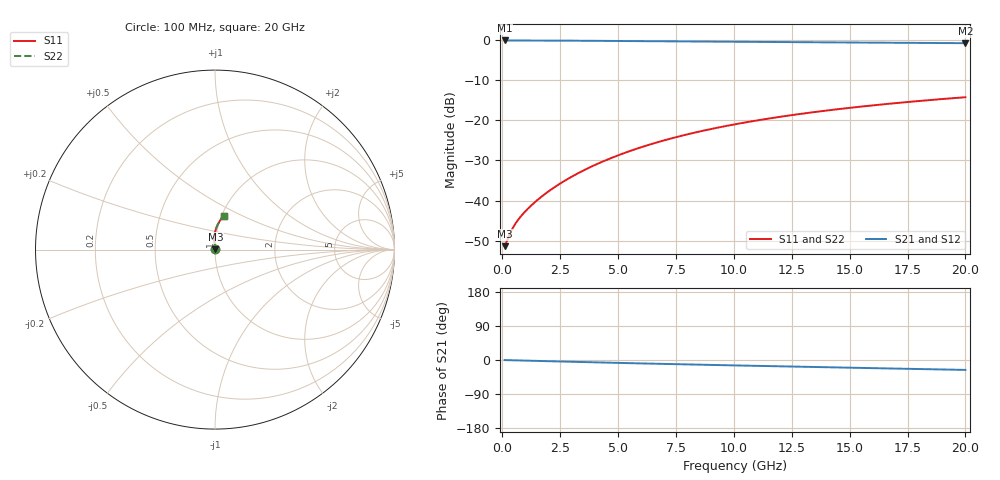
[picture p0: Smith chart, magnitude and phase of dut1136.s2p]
! Touchstone file exported from HFSS 2024.1.0
!  File:  C:/UserFiles/LocalFiles/RDL_TSV_Batchsim/temp_RDL_top_1136_1780047638.aedt
!  Generated:  05:42:31 PM May 29, 2026
!  Design:  RDL_top
!  Project:  temp_RDL_top_1136_1780047638
!  Setup:  Setup1
!  Solution:  Sweep
! Variables:
!  dtsv = 10.80580581um
!  hbump = 3um
!  htsv = 54.94um
!  ldown = 100um
!  lrdl = 406.32um
!  p = 40
!  p1 = 43um
!  rhole = 1um
!  t = 450um
!  tdown = 3.915915916um
!  trdl = 2.32um
!  wdown = 15.38538539um
!  wrdl = 28.74um
# GHz S MA R 50.000000
! Terminal data exported
! Port[1] = Box2_T1
! Port[2] = Box2_T2
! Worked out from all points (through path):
!   200 points, 100 MHz to 20 GHz, reference 50 ohm
!   highest |S21| = -0.02 dB at 100 MHz (marker M1); lowest = -0.7 dB at 20 GHz (marker M2)
!   group delay of S21, straight-line fit = 3.57 ps
!   lowest |S11| = -51.4 dB at 100 MHz (marker M3), VSWR 1.01, Z = 50.3 + j0.0851 ohm
!   |S11| at or under -10 dB: start of sweep to end of sweep
!   |S22| runs from -51.4 to -14.2 dB; largest |S21 - S12| = 3.4e-15
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0.1  0.00269 18.3  0.9974 -0.2  0.9974 -0.2  0.00269 18.3
! Gamma 0 0 0 0
! Port Impedance 50 0 50 0
0.3  0.003679 40.4  0.9971 -0.5  0.9971 -0.5  0.00368 40.4
0.4  0.004243 46.2  0.9969 -0.7  0.9969 -0.7  0.004243 46.2
0.5  0.004789 50.5  0.9967 -0.8  0.9967 -0.8  0.00479 50.5
0.6  0.005316 53.9  0.9965 -1.0  0.9965 -1.0  0.005317 53.9
0.9  0.006843 62.1  0.9959 -1.5  0.9959 -1.5  0.006844 62.1
1.2  0.008401 68.4  0.9954 -1.9  0.9954 -1.9  0.008402 68.4
1.7  0.01121 76.4  0.9944 -2.7  0.9944 -2.7  0.01121 76.4
2.2  0.0143 82.0  0.9931 -3.5  0.9931 -3.5  0.0143 82.0
2.8  0.0184 86.8  0.9913 -4.4  0.9913 -4.4  0.0184 86.8
3.5  0.02369 90.5  0.9889 -5.5  0.9889 -5.5  0.02368 90.5
4.2  0.02948 92.8  0.9862 -6.5  0.9862 -6.5  0.02947 92.8
5  0.03666 94.3  0.9828 -7.6  0.9828 -7.6  0.03664 94.2
5.9  0.04531 94.9  0.9788 -8.9  0.9788 -8.9  0.04529 94.8
6.8  0.05444 94.7  0.9747 -10.1  0.9747 -10.1  0.05441 94.7
8.4  0.07145 93.4  0.9675 -12.2  0.9675 -12.2  0.07141 93.3
10.1  0.09008 91.1  0.9601 -14.4  0.9601 -14.4  0.09004 91.0
11.7  0.1077 88.6  0.9534 -16.3  0.9534 -16.3  0.1077 88.6
13.4  0.1264 85.8  0.9467 -18.4  0.9467 -18.4  0.1263 85.8
15  0.1436 83.2  0.9406 -20.3  0.9406 -20.3  0.1435 83.2
16.7  0.1616 80.5  0.9343 -22.3  0.9343 -22.3  0.1615 80.5
20  0.195 75.5  0.9225 -26.1  0.9225 -26.1  0.1949 75.4
